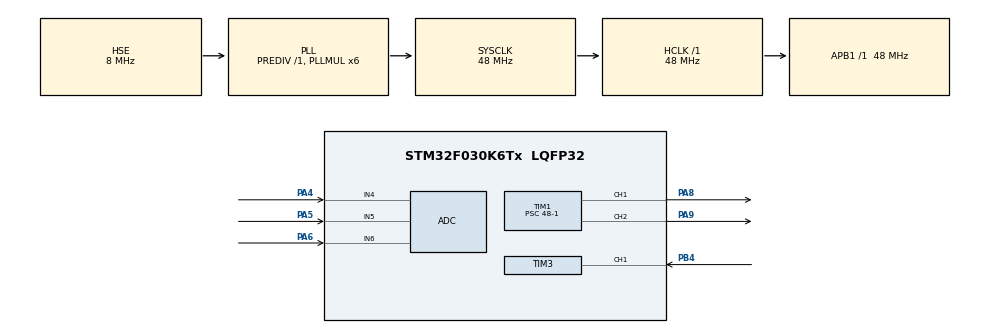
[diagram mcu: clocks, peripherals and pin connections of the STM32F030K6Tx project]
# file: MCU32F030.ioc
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Mcu.Family=STM32F0
Mcu.Name=STM32F030K6Tx
Mcu.Package=LQFP32
NVIC.TIM14_IRQn=true\:0\:0\:false\:false\:true\:true\:true\:true
NVIC.TIM1_BRK_UP_TRG_COM_IRQn=true\:0\:0\:false\:false\:true\:true\:true\:true
NVIC.TIM3_IRQn=true\:0\:0\:false\:false\:true\:true\:true\:true
PA13.Mode=Serial_Wire
PA13.Signal=SYS_SWDIO
PA14.Mode=Serial_Wire
PA14.Signal=SYS_SWCLK
PA4.Mode=IN4
PA4.Signal=ADC_IN4
PA5.Mode=IN5
PA5.Signal=ADC_IN5
PA6.Mode=IN6
PA6.Signal=ADC_IN6
PA8.GPIO_Speed=GPIO_SPEED_FREQ_MEDIUM
PA8.Signal=S_TIM1_CH1
PA9.GPIO_Speed=GPIO_SPEED_FREQ_MEDIUM
PA9.Signal=S_TIM1_CH2
PB4.Signal=S_TIM3_CH1
PF0-OSC_IN.Mode=HSE-External-Oscillator
PF0-OSC_IN.Signal=RCC_OSC_IN
PF1-OSC_OUT.Mode=HSE-External-Oscillator
PF1-OSC_OUT.Signal=RCC_OSC_OUT
ProjectManager.HeapSize=0x200
ProjectManager.StackSize=0x400
ProjectManager.TargetToolchain=MDK-ARM V5.32
RCC.AHBFreq_Value=48000000
RCC.APB1Freq_Value=48000000
RCC.APB1TimFreq_Value=48000000
RCC.HCLKFreq_Value=48000000
RCC.PLLMUL=RCC_PLL_MUL6
RCC.PLLSourceVirtual=RCC_PLLSOURCE_HSE
RCC.SYSCLKFreq_VALUE=48000000
RCC.SYSCLKSource=RCC_SYSCLKSOURCE_PLLCLK
SH.S_TIM1_CH1.0=TIM1_CH1,PWM Generation1 CH1
SH.S_TIM1_CH2.0=TIM1_CH2,PWM Generation2 CH2
SH.S_TIM3_CH1.0=TIM3_CH1,Input_Capture1_from_TI1
TIM1.AutoReloadPreload=TIM_AUTORELOAD_PRELOAD_ENABLE
TIM1.Channel-PWM\ Generation1\ CH1=TIM_CHANNEL_1
TIM1.Channel-PWM\ Generation2\ CH2=TIM_CHANNEL_2
TIM1.Period=1000-1
TIM1.Prescaler=48-1
TIM14.Period=10000
TIM14.Prescaler=48-1
TIM3.AutoReloadPreload=TIM_AUTORELOAD_PRELOAD_ENABLE
TIM3.Channel-Input_Capture1_from_TI1=TIM_CHANNEL_1
TIM3.ICPrescaler-Input_Capture1_from_TI1=TIM_ICPSC_DIV4
TIM3.Period=50000-1
TIM3.Prescaler=48-1
TIM3.TIM_MasterOutputTrigger=TIM_TRGO_UPDATE
VP_TIM14_VS_ClockSourceINT.Mode=Enable_Timer
VP_TIM1_VS_ClockSourceINT.Mode=Internal
VP_TIM3_VS_ClockSourceINT.Mode=Internal
board=custom

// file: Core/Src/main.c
/* USER CODE BEGIN Header */
/**
  ******************************************************************************
  * @file           : main.c
  * @brief          : Main program body
  ******************************************************************************
  * @attention
  *
  * Copyright (c) 2022 STMicroelectronics.
  * All rights reserved.
  *
  * This software is licensed under terms that can be found in the LICENSE file
  * in the root directory of this software component.
  * If no LICENSE file comes with this software, it is provided AS-IS.
  *
  ******************************************************************************
  */
/* USER CODE END Header */
#include "main.h"

/* USER CODE BEGIN Includes */
#include "control.h"
/* USER CODE END Includes */

/* USER CODE BEGIN PTD */
uint16_t tim3_count_50ms;
uint16_t tim3_count_1s;
/* USER CODE END PTD */

ADC_HandleTypeDef hadc;

TIM_HandleTypeDef htim1;
TIM_HandleTypeDef htim3;
TIM_HandleTypeDef htim14;

/* USER CODE BEGIN PV */
int Fan_PWM=0;
int Fan_speed=0;
int Fan_speed_show=0;
int Fan_count=0;
uint16_t voltage,v_fin;
float temp;
int temp_show;
int heat;
int v_tim=0;
float temp_set=70;
int fan_set=80;

/* USER CODE END PV */

void SystemClock_Config(void);
static void MX_GPIO_Init(void);
static void MX_ADC_Init(void);
static void MX_TIM1_Init(void);
static void MX_TIM3_Init(void);
static void MX_TIM14_Init(void);

int main(void)
{

  /* MCU Configuration--------------------------------------------------------*/

  /* Reset of all peripherals, Initializes the Flash interface and the Systick. */
  HAL_Init();

  /* Configure the system clock */
  SystemClock_Config();

  /* Initialize all configured peripherals */
  MX_GPIO_Init();
  MX_ADC_Init();
  MX_TIM1_Init();
  MX_TIM3_Init();
  MX_TIM14_Init();
  /* USER CODE BEGIN 2 */
	//HAL_TIM_Base_Start_IT(&htim1);
	HAL_TIM_Base_Start_IT(&htim3);
	HAL_TIM_Base_Start_IT(&htim14);
	HAL_TIM_IC_Start_IT(&htim3, TIM_CHANNEL_1);    //启动输入捕获
	//HAL_TIM_Base_Start_IT(&htim3);
  /* USER CODE END 2 */

  /* Infinite loop */
  while (1)
  {

		Set_fan_speed(fan_set);
		//HAL_Delay(5000);
		//Set_fan_speed(20);
		//HAL_Delay(5000);

		//pt100:0.3851Ω/℃
		//35.2℃==2.767v 3434
		while(v_tim!=10)
		{
			HAL_ADC_Start(&hadc);
    //等待ADC转换完成，超时为10ms
			HAL_ADC_PollForConversion(&hadc,10);
    //判断ADC是否转换成功
			if(HAL_IS_BIT_SET(HAL_ADC_GetState(&hadc),HAL_ADC_STATE_REG_EOC)){
         //读取值
				voltage = HAL_ADC_GetValue(&hadc);
				if(voltage)
				{
					v_fin += voltage;
					v_tim++;
				}
			}
		}
		v_tim=0;
		v_fin = v_fin/10;
		temp = (v_fin/4096.0f*2.8f*1100/(25-v_fin/4096.0f*2.8f)-100)/0.3851;
		temp_show = temp;
		v_fin = 0;
			//voltage=voltage/4096*3.3f;
		if(temp>temp_set+2)
			heat=0;
		else if(temp>temp_set+0.25)
			heat=16*(Fan_speed/10);
		else if(temp<temp_set-10)
			heat=600;
		else if(temp<temp_set)
			heat=600+35*(Fan_speed/10)-(temp-(temp_set-10))/10*502;

  }
}

void SystemClock_Config(void)
{
  RCC_OscInitTypeDef RCC_OscInitStruct = {0};
  RCC_ClkInitTypeDef RCC_ClkInitStruct = {0};

  /** Initializes the RCC Oscillators according to the specified parameters
  * in the RCC_OscInitTypeDef structure.
  */
  RCC_OscInitStruct.OscillatorType = RCC_OSCILLATORTYPE_HSI14|RCC_OSCILLATORTYPE_HSE;
  RCC_OscInitStruct.HSEState = RCC_HSE_ON;
  RCC_OscInitStruct.HSI14State = RCC_HSI14_ON;
  RCC_OscInitStruct.HSI14CalibrationValue = 16;
  RCC_OscInitStruct.PLL.PLLState = RCC_PLL_ON;
  RCC_OscInitStruct.PLL.PLLSource = RCC_PLLSOURCE_HSE;
  RCC_OscInitStruct.PLL.PLLMUL = RCC_PLL_MUL6;
  RCC_OscInitStruct.PLL.PREDIV = RCC_PREDIV_DIV1;
  if (HAL_RCC_OscConfig(&RCC_OscInitStruct) != HAL_OK)
  {
    Error_Handler();
  }

  /** Initializes the CPU, AHB and APB buses clocks
  */
  RCC_ClkInitStruct.ClockType = RCC_CLOCKTYPE_HCLK|RCC_CLOCKTYPE_SYSCLK
                              |RCC_CLOCKTYPE_PCLK1;
  RCC_ClkInitStruct.SYSCLKSource = RCC_SYSCLKSOURCE_PLLCLK;
  RCC_ClkInitStruct.AHBCLKDivider = RCC_SYSCLK_DIV1;
  RCC_ClkInitStruct.APB1CLKDivider = RCC_HCLK_DIV1;

  if (HAL_RCC_ClockConfig(&RCC_ClkInitStruct, FLASH_LATENCY_1) != HAL_OK)
  {
    Error_Handler();
  }
}

static void MX_ADC_Init(void)
{

  ADC_ChannelConfTypeDef sConfig = {0};

  /** Configure the global features of the ADC (Clock, Resolution, Data Alignment and number of conversion)
  */
  hadc.Instance = ADC1;
  hadc.Init.ClockPrescaler = ADC_CLOCK_ASYNC_DIV1;
  hadc.Init.Resolution = ADC_RESOLUTION_12B;
  hadc.Init.DataAlign = ADC_DATAALIGN_RIGHT;
  hadc.Init.ScanConvMode = ADC_SCAN_DIRECTION_FORWARD;
  hadc.Init.EOCSelection = ADC_EOC_SINGLE_CONV;
  hadc.Init.LowPowerAutoWait = DISABLE;
  hadc.Init.LowPowerAutoPowerOff = DISABLE;
  hadc.Init.ContinuousConvMode = DISABLE;
  hadc.Init.DiscontinuousConvMode = DISABLE;
  hadc.Init.ExternalTrigConv = ADC_SOFTWARE_START;
  hadc.Init.ExternalTrigConvEdge = ADC_EXTERNALTRIGCONVEDGE_NONE;
  hadc.Init.DMAContinuousRequests = DISABLE;
  hadc.Init.Overrun = ADC_OVR_DATA_PRESERVED;
  if (HAL_ADC_Init(&hadc) != HAL_OK)
  {
    Error_Handler();
  }

  /** Configure for the selected ADC regular channel to be converted.
  */
  sConfig.Channel = ADC_CHANNEL_4;
  sConfig.Rank = ADC_RANK_CHANNEL_NUMBER;
  sConfig.SamplingTime = ADC_SAMPLETIME_1CYCLE_5;
  if (HAL_ADC_ConfigChannel(&hadc, &sConfig) != HAL_OK)
  {
    Error_Handler();
  }

  /** Configure for the selected ADC regular channel to be converted.
  */
  sConfig.Channel = ADC_CHANNEL_5;
  if (HAL_ADC_ConfigChannel(&hadc, &sConfig) != HAL_OK)
  {
    Error_Handler();
  }

  /** Configure for the selected ADC regular channel to be converted.
  */
  sConfig.Channel = ADC_CHANNEL_6;
  if (HAL_ADC_ConfigChannel(&hadc, &sConfig) != HAL_OK)
  {
    Error_Handler();
  }

}

static void MX_TIM1_Init(void)
{

  TIM_ClockConfigTypeDef sClockSourceConfig = {0};
  TIM_MasterConfigTypeDef sMasterConfig = {0};
  TIM_OC_InitTypeDef sConfigOC = {0};
  TIM_BreakDeadTimeConfigTypeDef sBreakDeadTimeConfig = {0};

  htim1.Instance = TIM1;
  htim1.Init.Prescaler = 48-1;
  htim1.Init.CounterMode = TIM_COUNTERMODE_UP;
  htim1.Init.Period = 1000-1;
  htim1.Init.ClockDivision = TIM_CLOCKDIVISION_DIV1;
  htim1.Init.RepetitionCounter = 0;
  htim1.Init.AutoReloadPreload = TIM_AUTORELOAD_PRELOAD_ENABLE;
  if (HAL_TIM_Base_Init(&htim1) != HAL_OK)
  {
    Error_Handler();
  }
  sClockSourceConfig.ClockSource = TIM_CLOCKSOURCE_INTERNAL;
  if (HAL_TIM_ConfigClockSource(&htim1, &sClockSourceConfig) != HAL_OK)
  {
    Error_Handler();
  }
  if (HAL_TIM_PWM_Init(&htim1) != HAL_OK)
  {
    Error_Handler();
  }
  sMasterConfig.MasterOutputTrigger = TIM_TRGO_RESET;
  sMasterConfig.MasterSlaveMode = TIM_MASTERSLAVEMODE_DISABLE;
  if (HAL_TIMEx_MasterConfigSynchronization(&htim1, &sMasterConfig) != HAL_OK)
  {
    Error_Handler();
  }
  sConfigOC.OCMode = TIM_OCMODE_PWM1;
  sConfigOC.Pulse = 0;
  sConfigOC.OCPolarity = TIM_OCPOLARITY_HIGH;
  sConfigOC.OCNPolarity = TIM_OCNPOLARITY_HIGH;
  sConfigOC.OCFastMode = TIM_OCFAST_DISABLE;
  sConfigOC.OCIdleState = TIM_OCIDLESTATE_RESET;
  sConfigOC.OCNIdleState = TIM_OCNIDLESTATE_RESET;
  if (HAL_TIM_PWM_ConfigChannel(&htim1, &sConfigOC, TIM_CHANNEL_1) != HAL_OK)
  {
    Error_Handler();
  }
  if (HAL_TIM_PWM_ConfigChannel(&htim1, &sConfigOC, TIM_CHANNEL_2) != HAL_OK)
  {
    Error_Handler();
  }
  sBreakDeadTimeConfig.OffStateRunMode = TIM_OSSR_DISABLE;
  sBreakDeadTimeConfig.OffStateIDLEMode = TIM_OSSI_DISABLE;
  sBreakDeadTimeConfig.LockLevel = TIM_LOCKLEVEL_OFF;
  sBreakDeadTimeConfig.DeadTime = 0;
  sBreakDeadTimeConfig.BreakState = TIM_BREAK_DISABLE;
  sBreakDeadTimeConfig.BreakPolarity = TIM_BREAKPOLARITY_HIGH;
  sBreakDeadTimeConfig.AutomaticOutput = TIM_AUTOMATICOUTPUT_DISABLE;
  if (HAL_TIMEx_ConfigBreakDeadTime(&htim1, &sBreakDeadTimeConfig) != HAL_OK)
  {
    Error_Handler();
  }
  /* USER CODE BEGIN TIM1_Init 2 */
	HAL_TIM_Base_Start(&htim1);  /* 启动tim1 */
  HAL_TIM_PWM_Start(&htim1,TIM_CHANNEL_1);  /* 启动TIM1的PWM1 */
	HAL_TIM_PWM_Start(&htim1,TIM_CHANNEL_2);  /* 启动TIM1的PWM2 风扇 */
  /* USER CODE END TIM1_Init 2 */
  HAL_TIM_MspPostInit(&htim1);

}

static void MX_TIM3_Init(void)
{

  TIM_ClockConfigTypeDef sClockSourceConfig = {0};
  TIM_MasterConfigTypeDef sMasterConfig = {0};
  TIM_IC_InitTypeDef sConfigIC = {0};

  htim3.Instance = TIM3;
  htim3.Init.Prescaler = 48-1;
  htim3.Init.CounterMode = TIM_COUNTERMODE_UP;
  htim3.Init.Period = 50000-1;
  htim3.Init.ClockDivision = TIM_CLOCKDIVISION_DIV1;
  htim3.Init.AutoReloadPreload = TIM_AUTORELOAD_PRELOAD_ENABLE;
  if (HAL_TIM_Base_Init(&htim3) != HAL_OK)
  {
    Error_Handler();
  }
  sClockSourceConfig.ClockSource = TIM_CLOCKSOURCE_INTERNAL;
  if (HAL_TIM_ConfigClockSource(&htim3, &sClockSourceConfig) != HAL_OK)
  {
    Error_Handler();
  }
  if (HAL_TIM_IC_Init(&htim3) != HAL_OK)
  {
    Error_Handler();
  }
  sMasterConfig.MasterOutputTrigger = TIM_TRGO_UPDATE | TIM_TRGO_RESET;//
  sMasterConfig.MasterSlaveMode = TIM_MASTERSLAVEMODE_DISABLE;
  if (HAL_TIMEx_MasterConfigSynchronization(&htim3, &sMasterConfig) != HAL_OK)
  {
    Error_Handler();
  }
  sConfigIC.ICPolarity = TIM_INPUTCHANNELPOLARITY_RISING;
  sConfigIC.ICSelection = TIM_ICSELECTION_DIRECTTI;
  sConfigIC.ICPrescaler = TIM_ICPSC_DIV4;
  sConfigIC.ICFilter = 0;
  if (HAL_TIM_IC_ConfigChannel(&htim3, &sConfigIC, TIM_CHANNEL_1) != HAL_OK)
  {
    Error_Handler();
  }

}
static void MX_TIM14_Init(void)
{

  htim14.Instance = TIM14;
  htim14.Init.Prescaler = 48-1;
  htim14.Init.CounterMode = TIM_COUNTERMODE_UP;
  htim14.Init.Period = 10000;
  htim14.Init.ClockDivision = TIM_CLOCKDIVISION_DIV1;
  htim14.Init.AutoReloadPreload = TIM_AUTORELOAD_PRELOAD_DISABLE;
  if (HAL_TIM_Base_Init(&htim14) != HAL_OK)
  {
    Error_Handler();
  }

}

static void MX_GPIO_Init(void)
{

  /* GPIO Ports Clock Enable */
  __HAL_RCC_GPIOF_CLK_ENABLE();
  __HAL_RCC_GPIOA_CLK_ENABLE();
  __HAL_RCC_GPIOB_CLK_ENABLE();

}

void Error_Handler(void)
{
  __disable_irq();
  while (1)
  {
  }
}
